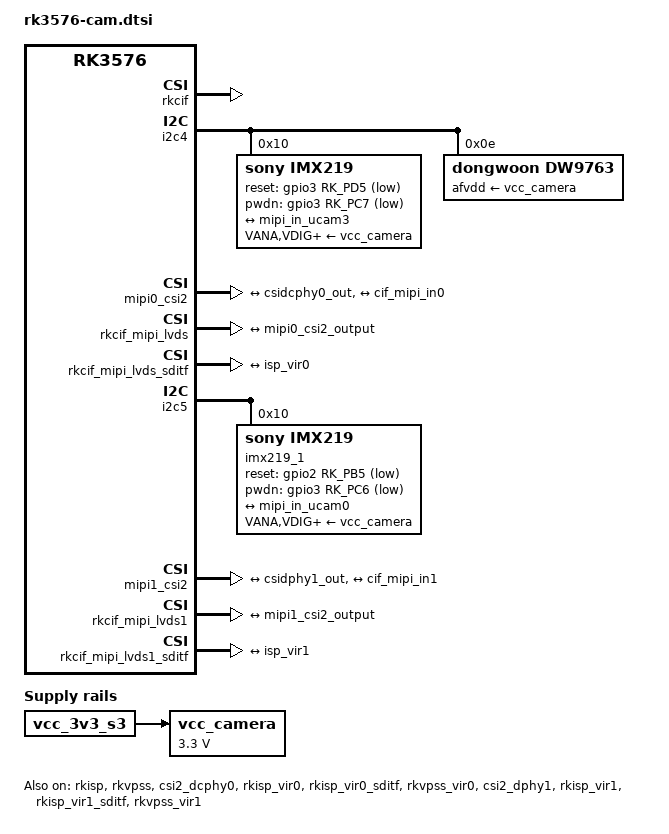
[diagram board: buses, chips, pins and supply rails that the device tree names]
/* Copyright (c) 2024 camera.
 */

/ {
	vcc_camera: vcc_avdd_csi0: vcc_avdd_csi3: vcc_dvdd: vcc_iovdd: vcc_afvdd: vcc_vddl_1v2: vcc-camera-regulator {
		compatible = "regulator-fixed";
		regulator-name = "vcc_camera";
		regulator-min-microvolt = <3300000>;
		regulator-max-microvolt = <3300000>;
		enable-active-high;
		regulator-always-on;
		regulator-boot-on;
		vin-supply = <&vcc_3v3_s3>;
	};
};

&pinctrl {
	cam_pinctrl {
		cam0_reset_active: cam0-reset-active {
			rockchip,pins = 
				<3 RK_PD5 RK_FUNC_GPIO &pcfg_pull_up>,
				<3 RK_PC7 RK_FUNC_GPIO &pcfg_pull_up>;
			};
		cam0_reset_sleep: cam0-reset-sleep {
			rockchip,pins = 
				<3 RK_PD5 RK_FUNC_GPIO &pcfg_pull_none>,
				<3 RK_PC7 RK_FUNC_GPIO &pcfg_pull_none>;
		};

		cam1_reset_active: cam1-reset-active {
			rockchip,pins = 
				<2 RK_PB5 RK_FUNC_GPIO &pcfg_pull_up>,
				<3 RK_PC6 RK_FUNC_GPIO &pcfg_pull_up>;
			};
		cam1_reset_sleep: cam1-reset-sleep {
			rockchip,pins = 
				<2 RK_PB5 RK_FUNC_GPIO &pcfg_pull_none>,
				<3 RK_PC6 RK_FUNC_GPIO &pcfg_pull_none>;
		};

		cam2_reset_active: cam2-reset-active {
			rockchip,pins = 
				<3 RK_PD6 RK_FUNC_GPIO &pcfg_pull_up>,
				<3 RK_PD4 RK_FUNC_GPIO &pcfg_pull_up>;
		};
		cam2_reset_sleep: cam2-reset-sleep {
			rockchip,pins = 
				<3 RK_PD6 RK_FUNC_GPIO &pcfg_pull_none>,
				<3 RK_PD4 RK_FUNC_GPIO &pcfg_pull_none>;
		};
	};
};

/*----------rkisp start---------*/

&rkcif {
	status = "okay";
};

&rkcif_mmu {
	status = "okay";
};

&rkisp {
	status = "okay";
};

&rkisp_mmu {
	status = "okay";
};

&rkvpss {
	status = "okay";
};

&rkvpss_mmu {
	status = "okay";
};

/*----------rkisp end-----------*/

/*----------cam0 start----------*/
&i2c4 {
	status = "okay";
	pinctrl-names = "default";
   	pinctrl-0 = <&i2c4m3_xfer>;

	imx219: imx219@10 {
		compatible = "sony,imx219";
		status = "okay";
		reg = <0x10>;

		power-domains = <&power RK3576_PD_VI>;
		VANA-supply = <&vcc_camera>;
		VDIG-supply = <&vcc_camera>;
		VDDL-supply = <&vcc_camera>;

		clocks = <&cru CLK_MIPI_CAMERAOUT_M0>;
		assigned-clocks = <&cru CLK_MIPI_CAMERAOUT_M0>;
		assigned-clock-rates = <24000000>;
		clock-names = "xvclk";
		pinctrl-names = "default","rockchip,camera_default","rockchip,camera_sleep";
		pinctrl-0 = <&cam_clk0m0_clk0>;
		pinctrl-1 = <&cam0_reset_active>;
		pinctrl-2 = <&cam0_reset_sleep>;
		reset-gpios = <&gpio3 RK_PD5 GPIO_ACTIVE_LOW>;
		/* Board uses PWREN(active-high). Map it to pwdn with ACTIVE_LOW semantics. */
		pwdn-gpios = <&gpio3 RK_PC7 GPIO_ACTIVE_LOW>;

		rockchip,camera-module-index = <0>;
		rockchip,camera-module-facing = "back";
		rockchip,camera-module-name = "IMX219";
		rockchip,camera-module-lens-name = "default";
		lens-focus = <&dw9763>;
		port {
			imx219_out0: endpoint {
				remote-endpoint = <&mipi_in_ucam3>;
				data-lanes = <2 1>;
				link-frequencies = /bits/ 64 <344000000>;
			};
		};
	};

	dw9763: dw9763@e {
		compatible = "dongwoon,dw9763";
		status = "okay";
		reg = <0xe>;
		afvdd-supply = <&vcc_camera>;
		// power-gpios = <&gpio3 RK_PC6 GPIO_ACTIVE_HIGH>;
		rockchip,vcm-max-current = <100>;
		rockchip,vcm-start-current = <20>;
		rockchip,vcm-rated-current = <100>;
		rockchip,vcm-t-src = <0x30>;
    	rockchip,vcm-t-div = <1>;
		rockchip,vcm-step-mode = <0>;
		rockchip,camera-module-index = <0>;
		rockchip,camera-module-facing = "back";
	};
};

&csi2_dcphy0 {
	status = "okay";

	ports {
		#address-cells = <1>;
		#size-cells = <0>;
		port@0 {
			reg = <0>;
			#address-cells = <1>;
			#size-cells = <0>;

			mipi_in_ucam0: endpoint@1 {
				reg = <1>;
				remote-endpoint = <&imx219_out1>;
				data-lanes = <2 1>;
			};
		};
		port@1 {
			reg = <1>;
			#address-cells = <1>;
			#size-cells = <0>;

			csidcphy0_out: endpoint@0 {
				reg = <0>;
				remote-endpoint = <&mipi0_csi2_input>;
			};
		};
	};
};

&mipi0_csi2 {
	status = "okay";

	ports {
		#address-cells = <1>;
		#size-cells = <0>;

		port@0 {
			reg = <0>;
			#address-cells = <1>;
			#size-cells = <0>;

			mipi0_csi2_input: endpoint@1 {
				reg = <1>;
				remote-endpoint = <&csidcphy0_out>;
			};
		};

		port@1 {
			reg = <1>;
			#address-cells = <1>;
			#size-cells = <0>;

			mipi0_csi2_output: endpoint@0 {
				reg = <0>;
				remote-endpoint = <&cif_mipi_in0>;
			};
		};
	};
};

&rkcif_mipi_lvds {
	status = "okay";
	no-detect-group-sync;

	port {
		cif_mipi_in0: endpoint {
			remote-endpoint = <&mipi0_csi2_output>;
		};
	};
};

&rkcif_mipi_lvds_sditf {
	status = "okay";

	port {
		mipi_lvds_sditf: endpoint {
			remote-endpoint = <&isp_vir0>;
		};
	};
};

&rkisp_vir0 {
	status = "okay";

	port {
		#address-cells = <1>;
		#size-cells = <0>;

		isp_vir0: endpoint@0 {
			reg = <0>;
			remote-endpoint = <&mipi_lvds_sditf>;
		};
	};
};

&rkisp_vir0_sditf {
	status = "okay";
};

&rkvpss_vir0 {
	status = "okay";
};

/*----------cam0 end------------*/


/*----------cam1 start----------*/
&i2c5 {
	status = "okay";
	pinctrl-names = "default";
	pinctrl-0 = <&i2c5m3_xfer>;

	imx219_1: imx219_1@10 {
		compatible = "sony,imx219";
		status = "okay";
		reg = <0x10>;

		power-domains = <&power RK3576_PD_VI>;
		VANA-supply = <&vcc_camera>;
		VDIG-supply = <&vcc_camera>;
		VDDL-supply = <&vcc_camera>;

		clocks = <&cru CLK_MIPI_CAMERAOUT_M1>;
		assigned-clocks = <&cru CLK_MIPI_CAMERAOUT_M1>;
		assigned-clock-rates = <24000000>;
		clock-names = "xvclk";
		pinctrl-names = "default","rockchip,camera_default","rockchip,camera_sleep";
		pinctrl-0 = <&cam_clk1m0_clk1>;
		pinctrl-1 = <&cam1_reset_active>;
		pinctrl-2 = <&cam1_reset_sleep>;
		reset-gpios = <&gpio2 RK_PB5 GPIO_ACTIVE_LOW>;
		pwdn-gpios = <&gpio3 RK_PC6 GPIO_ACTIVE_LOW>;

		rockchip,camera-module-index = <1>;
		rockchip,camera-module-facing = "back";
		rockchip,camera-module-name = "IMX219";
		rockchip,camera-module-lens-name = "default";
		port {
			imx219_out1: endpoint {
				remote-endpoint = <&mipi_in_ucam0>;
				data-lanes = <2 1>;
				link-frequencies = /bits/ 64 <344000000>;
			};
		};
	};
};

&csi2_dphy1 {
	status = "okay";

	ports {
		#address-cells = <1>;
		#size-cells = <0>;
		port@0 {
			reg = <0>;
			#address-cells = <1>;
			#size-cells = <0>;

			mipi_in_ucam3: endpoint@1 {
				reg = <1>;
				remote-endpoint = <&imx219_out0>;
				data-lanes = <2 1>;
			};
		};
		port@1 {
			reg = <1>;
			#address-cells = <1>;
			#size-cells = <0>;

			csidphy1_out: endpoint@0 {
				reg = <0>;
				remote-endpoint = <&mipi1_csi2_input>;
			};
		};
	};
};

&mipi1_csi2 {
	status = "okay";

	ports {
		#address-cells = <1>;
		#size-cells = <0>;

		port@0 {
			reg = <0>;
			#address-cells = <1>;
			#size-cells = <0>;

			mipi1_csi2_input: endpoint@1 {
				reg = <1>;
				remote-endpoint = <&csidphy1_out>;
			};
		};

		port@1 {
			reg = <1>;
			#address-cells = <1>;
			#size-cells = <0>;

			mipi1_csi2_output: endpoint@0 {
				reg = <0>;
				remote-endpoint = <&cif_mipi_in1>;
			};
		};
	};
};

&rkcif_mipi_lvds1 {
	status = "okay";
	no-detect-group-sync;

	port {
		cif_mipi_in1: endpoint {
			remote-endpoint = <&mipi1_csi2_output>;
		};
	};
};

&rkcif_mipi_lvds1_sditf {
	status = "okay";

	port {
		mipi1_lvds_sditf: endpoint {
			remote-endpoint = <&isp_vir1>;
		};
	};
};

&rkisp_vir1 {
	status = "okay";

	port {
		#address-cells = <1>;
		#size-cells = <0>;

		isp_vir1: endpoint@0 {
			reg = <0>;
			remote-endpoint = <&mipi1_lvds_sditf>;
		};
	};
};

&rkisp_vir1_sditf {
	status = "okay";
};

&rkvpss_vir1 {
	status = "okay";
};

/*----------cam1 end------------*/


/*----------cam2 start----------*/

&i2c5 {
	status = "okay";
	pinctrl-0 = <&i2c5m3_xfer>;

	s5k3l6b: s5k3l6b@10 {
		compatible = "quec,s5k3l6b";
		status = "disabled";
		reg = <0x10>;

		power-domains = <&power RK3576_PD_VI>;
		dvdd-supply = <&vcc_camera>;
		avdd-supply = <&vcc_camera>;
		iovdd-supply = <&vcc_camera>;

		clocks = <&cru CLK_MIPI_CAMERAOUT_M2>; 
		clock-names = "xvclk";
		pinctrl-names = "default","rockchip,camera_default","rockchip,camera_sleep";
		pinctrl-0 = <&cam_clk2m0_clk2>;
		pinctrl-1 = <&cam2_reset_active>;
		pinctrl-2 = <&cam2_reset_sleep>;
		reset-gpios = <&gpio3 RK_PD6 GPIO_ACTIVE_HIGH>;
		//pwdn-gpios = <&gpio3 RK_PD4 GPIO_ACTIVE_HIGH>;

		rockchip,camera-module-index = <1>;
		rockchip,camera-module-facing = "front";
		rockchip,camera-module-name = "SAA3-00N8-A1";
		rockchip,camera-module-lens-name = "default";
		lens-focus = <&dw9763c>;
		port {
			s5k3l6b_out2: endpoint {
				remote-endpoint = <&mipi_in_ucam5>;
				data-lanes = <1 2 3 4>;
			};
		};
	};
	
	s5k3p9b: s5k3p9b@10 {
		compatible = "quec,s5k3p9b";
		status = "disabled";
		reg = <0x10>;

		power-domains = <&power RK3576_PD_VI>;
		dvdd-supply = <&vcc_camera>;
		avdd-supply = <&vcc_camera>;
		iovdd-supply = <&vcc_camera>;

		clocks = <&cru CLK_MIPI_CAMERAOUT_M2>;
		clock-names = "xvclk";
		pinctrl-names = "default","rockchip,camera_default","rockchip,camera_sleep";
		pinctrl-0 = <&cam_clk2m0_clk2>;
		pinctrl-1 = <&cam2_reset_active>;
		pinctrl-2 = <&cam2_reset_sleep>;
		reset-gpios = <&gpio3 RK_PD6 GPIO_ACTIVE_HIGH>;
		//pwdn-gpios = <&gpio3 RK_PD4 GPIO_ACTIVE_HIGH>;

		rockchip,camera-module-index = <1>;
		rockchip,camera-module-facing = "front";
		rockchip,camera-module-name = "SAA6-00N8-A1";
		rockchip,camera-module-lens-name = "default";
		lens-focus = <&dw9763c>;
		port {
			s5k3p9b_out2: endpoint {
				remote-endpoint = <&mipi_in_ucam6>;
				data-lanes = <1 2 3 4>;
			};
		};
	};

	dw9763c: dw9763c@e {
		compatible = "dongwoon,dw9763c";
		status = "disabled";
		reg = <0xe>;
		afvdd-supply = <&vcc_camera>;
		// power-gpios = <&gpio3 RK_PC6 GPIO_ACTIVE_HIGH>;
		rockchip,vcm-max-current = <100>;
		rockchip,vcm-start-current = <20>;
		rockchip,vcm-rated-current = <100>;
		rockchip,vcm-t-src = <0x30>;
    	rockchip,vcm-t-div = <1>;
		rockchip,vcm-step-mode = <0>;
		rockchip,camera-module-index = <1>;
		rockchip,camera-module-facing = "back";
	};
};

&csi2_dphy3 {
	status = "disabled";

	ports {
		#address-cells = <1>;
		#size-cells = <0>;

		port@0 {
			reg = <0>;
			#address-cells = <1>;
			#size-cells = <0>;

			mipi_in_ucam5: endpoint@1 {
				reg = <1>;
				remote-endpoint = <&s5k3l6b_out2>;
				data-lanes = <1 2 3 4>;
			};

			mipi_in_ucam6: endpoint@2 {
				reg = <2>;
				remote-endpoint = <&s5k3p9b_out2>;
				data-lanes = <1 2 3 4>;
			};
		};

		port@1 {
			reg = <1>;
			#address-cells = <1>;
			#size-cells = <0>;

			csidphy3_out: endpoint@0 {
				reg = <0>;
				remote-endpoint = <&mipi3_csi2_input>;
			};
		};
	};
};

&mipi3_csi2 {
	status = "disabled";

	ports {
		#address-cells = <1>;
		#size-cells = <0>;

		port@0 {
			reg = <0>;
			#address-cells = <1>;
			#size-cells = <0>;

			mipi3_csi2_input: endpoint@1 {
				reg = <1>;
				remote-endpoint = <&csidphy3_out>;
			};
		};

		port@1 {
			reg = <1>;
			#address-cells = <1>;
			#size-cells = <0>;

			mipi3_csi2_output: endpoint@0 {
				reg = <0>;
				remote-endpoint = <&cif_mipi_in2>;
			};
		};
	};
};

&rkcif_mipi_lvds3 {
	status = "disabled";

	port {
		cif_mipi_in2: endpoint {
			remote-endpoint = <&mipi3_csi2_output>;
		};
	};
};

&rkcif_mipi_lvds3_sditf {
	status = "disabled";

	port {
		mipi3_lvds_sditf: endpoint {
			remote-endpoint = <&isp_vir2>;
		};
	};
};

&rkisp_vir2 {
	status = "disabled";

	port {
		#address-cells = <1>;
		#size-cells = <0>;

		isp_vir2: endpoint@0 {
			reg = <0>;
			remote-endpoint = <&mipi3_lvds_sditf>;
		};
	};
};

&rkisp_vir2_sditf {
	status = "disabled";
};

&rkvpss_vir2 {
	status = "disabled";
};

/*----------cam2 end------------*/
